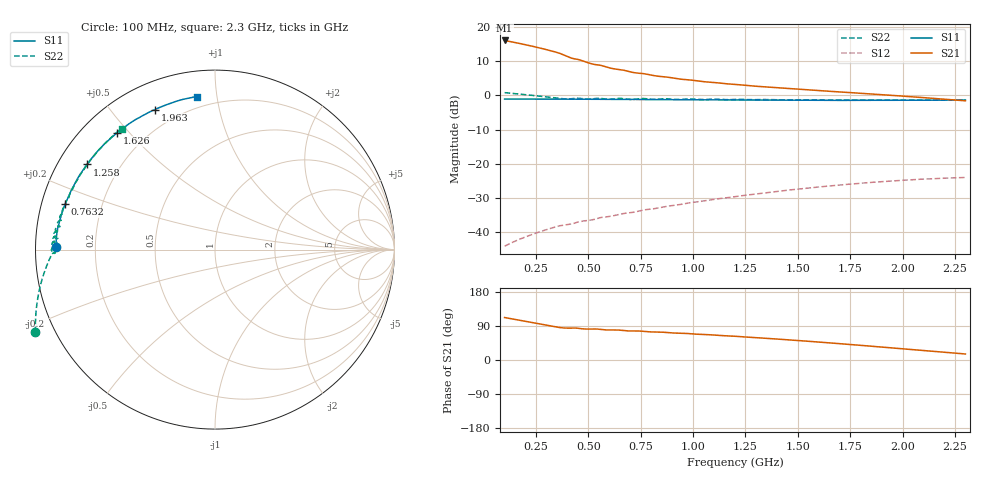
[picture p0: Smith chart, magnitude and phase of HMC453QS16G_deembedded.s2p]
! Small signal s-parameters, de-embedded to package pins
!Vdd=5V
# MHZ S MA R 50
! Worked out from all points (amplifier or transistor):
!   210 points, 100 MHz to 2.3 GHz, reference 50 ohm
!   highest |S21| = 16.2 dB at 100 MHz (marker M1)
!   |S21| within 3 dB of that: start of sweep to 319 MHz
!   unconditionally stable (mu >= 1): 384.6 MHz to end of sweep
!   at 468.4 MHz: K = 1.08, MAG = 21.9 dB, |S12| = -36.9 dB
!   at 1.205 GHz: K = 1.35, MAG = 12.9 dB, |S12| = -29.6 dB
!   at 2.3 GHz: K = 1.42, MAG = 7.4 dB, |S12| = -24.1 dB
!   S11 on the Smith chart (normalised r, x): 100 MHz: 0.06, +0.01; 763.2 MHz: 0.07, +0.15; 1.258 GHz: 0.08, +0.30; 1.626 GHz: 0.10, +0.46; 1.963 GHz: 0.12, +0.65; 2.3 GHz: 0.14, +0.88
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100  0.8859 179.2  6.426 112.1  0.006133 49.8  1.101 -155.3
152.6316  0.8862 178.0  5.969 106.8  0.00732 47.9  1.063 -160.0
215.7895  0.8862 176.6  5.427 100.5  0.008764 45.5  1.016 -165.6
278.9474  0.8861 175.2  4.89 94.1  0.01023 43.1  0.9687 -171.3
331.5789  0.8858 173.9  4.443 88.8  0.01148 41.0  0.9289 -176.1
373.6842  0.8846 172.9  4.032 85.0  0.01235 40.4  0.8977 -178.8
415.7895  0.8836 171.9  3.569 84.1  0.01298 42.6  0.8937 -178.6
436.8421  0.8823 171.4  3.434 84.3  0.01342 44.8  0.9078 -179.1
468.4211  0.8809 170.7  3.257 82.4  0.01421 44.4  0.8968 178.9
510.5263  0.8806 169.7  2.945 81.6  0.01481 46.0  0.8858 179.4
605.2632  0.8774 167.3  2.522 79.2  0.01682 48.1  0.8816 177.5
710.5263  0.8749 164.6  2.186 76.6  0.01921 49.7  0.8767 175.7
763.1579  0.8725 163.1  2.092 75.7  0.02085 50.5  0.9024 174.4
836.8421  0.8694 161.0  1.911 73.7  0.02242 50.5  0.8824 173.8
1026.316  0.8634 154.9  1.628 67.8  0.02761 49.5  0.8753 169.3
1205.263  0.8573 148.4  1.449 62.5  0.03297 47.4  0.8773 165.9
1257.895  0.8573 146.4  1.403 60.4  0.03452 46.0  0.8716 164.0
1573.684  0.85 132.5  1.195 48.5  0.04449 38.3  0.8624 155.5
1626.316  0.8483 130.0  1.165 46.2  0.04613 36.7  0.8603 153.7
1942.105  0.849 114.2  1.007 32.2  0.05547 25.7  0.8531 142.3
1963.158  0.8487 113.2  0.9969 31.3  0.05588 25.0  0.8524 141.4
2300  0.8586 96.7  0.8354 15.9  0.06258 12.1  0.8517 127.6
